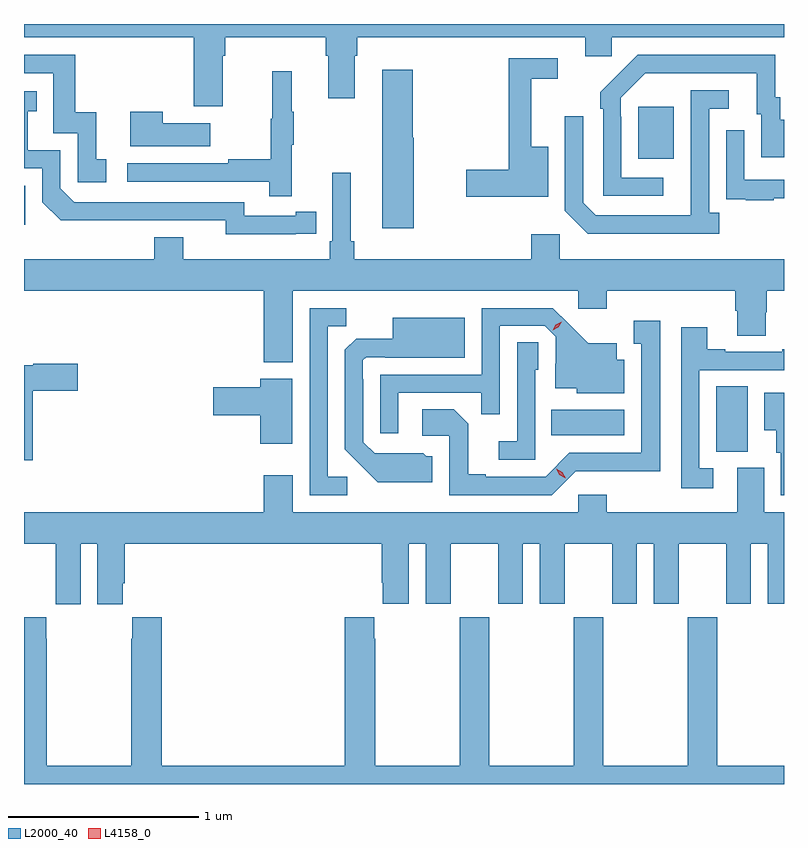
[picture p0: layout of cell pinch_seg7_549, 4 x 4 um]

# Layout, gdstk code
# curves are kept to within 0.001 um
import gdstk
lib = gdstk.Library(unit=1e-6, precision=1e-09)
def R(c, l, rs):  # rectangles x0, y0, x1, y1
    for r in rs: c.add(gdstk.rectangle(r[:2], r[2:], *l))
def P(c, l, *ps):  # polygons
    for p in ps: c.add(gdstk.Polygon(p, *l))
L2000_40 = (2000, 40)
L4158_0 = (4158, 0)

pinch_seg7_549 = lib.new_cell('pinch_seg7_549')
R(pinch_seg7_549, L2000_40, [(162.212,1057.045,162.376,1057.388), (161.344,1057.13,161.728,1057.264), (158.568,1058.238,158.574,1058.445), (161.801,1058.585,161.989,1058.86)])
P(pinch_seg7_549, L2000_40, [(159.613,1059.128),(159.626,1059.128),(159.626,1059.224),(160.157,1059.224),(160.157,1059.128),(160.169,1059.128),(160.169,1058.904),(160.309,1058.904),(160.309,1059.128),(160.322,1059.128),(160.322,1059.224),(161.522,1059.224),(161.522,1059.126),(161.661,1059.126),(161.661,1059.224),(162.568,1059.224),(162.568,1059.295),(158.568,1059.295),(158.568,1059.224),(159.461,1059.224),(159.461,1058.862),(159.613,1058.862)],
  [(161.932,1058.487),(161.712,1058.487),(161.712,1058.807),(161.709,1058.807),(161.709,1058.907),(161.838,1059.036),(162.425,1059.036),(162.425,1058.82),(162.449,1058.82),(162.449,1058.595),(162.568,1058.595),(162.568,1058.791),(162.547,1058.791),(162.547,1058.91),(162.522,1058.91),(162.522,1059.132),(161.798,1059.132),(161.601,1058.937),(161.601,1058.849),(161.616,1058.849),(161.616,1058.391),(161.932,1058.391)],
  [(159.001,1058.583),(158.948,1058.583),(158.948,1058.83),(158.837,1058.83),(158.837,1059.132),(158.568,1059.132),(158.568,1059.036),(158.721,1059.036),(158.721,1058.721),(158.85,1058.721),(158.85,1058.463),(159.001,1058.463)],
  [(161.326,1058.65),(161.237,1058.65),(161.237,1059.006),(161.377,1059.006),(161.377,1059.114),(161.119,1059.114),(161.119,1058.528),(160.896,1058.528),(160.896,1058.386),(161.326,1058.386)],
  [(160.618,1058.697),(160.613,1058.697),(160.613,1059.055),(160.454,1059.055),(160.454,1058.22),(160.618,1058.22)],
  [(159.977,1058.659),(159.988,1058.659),(159.988,1058.833),(159.977,1058.833),(159.977,1059.046),(159.874,1059.046),(159.874,1058.796),(159.867,1058.796),(159.867,1058.582),(159.643,1058.582),(159.643,1058.562),(159.111,1058.562),(159.111,1058.466),(159.859,1058.466),(159.859,1058.388),(159.977,1058.388)],
  [(162.226,1058.302),(162.174,1058.302),(162.174,1058.85),(162.277,1058.85),(162.277,1058.946),(162.078,1058.946),(162.077,1058.289),(161.577,1058.289),(161.511,1058.355),(161.511,1058.809),(161.415,1058.809),(161.415,1058.313),(161.536,1058.192),(162.226,1058.192)],
  [(159.998,1058.19),(160.106,1058.19),(160.106,1058.306),(159.998,1058.306),(159.998,1058.286),(159.726,1058.286),(159.726,1058.358),(158.832,1058.358),(158.76,1058.43),(158.76,1058.631),(158.587,1058.631),(158.587,1058.835),(158.636,1058.835),(158.636,1058.941),(158.568,1058.941),(158.568,1058.535),(158.664,1058.535),(158.664,1058.358),(158.762,1058.261),(159.63,1058.262),(159.63,1058.189)],
  [(159.547,1058.773),(159.299,1058.773),(159.299,1058.833),(159.128,1058.833),(159.128,1058.651),(159.547,1058.651)],
  [(162.515,1058.379),(162.568,1058.379),(162.568,1058.475),(162.36,1058.475),(162.36,1058.737),(162.264,1058.737),(162.264,1058.482),(162.265,1058.482),(162.265,1058.373),(162.367,1058.373),(162.367,1058.367),(162.515,1058.367)],
  [(159.982,1057.892),(161.484,1057.892),(161.484,1057.797),(161.636,1057.797),(161.636,1057.892),(162.311,1057.892),(162.311,1057.786),(162.323,1057.786),(162.323,1057.654),(162.471,1057.654),(162.471,1057.779),(162.476,1057.779),(162.476,1057.892),(162.568,1057.892),(162.568,1058.056),(161.388,1058.056),(161.388,1058.188),(161.237,1058.188),(161.237,1058.056),(160.307,1058.056),(160.307,1058.152),(160.288,1058.152),(160.288,1058.512),(160.191,1058.512),(160.191,1058.152),(160.178,1058.152),(160.178,1058.056),(159.406,1058.056),(159.406,1058.173),(159.254,1058.173),(159.254,1058.056),(158.568,1058.056),(158.568,1057.892),(159.83,1057.892),(159.83,1057.514),(159.982,1057.514)],
  [(160.539,1057.353),(160.975,1057.353),(160.975,1057.24),(161.073,1057.24),(161.073,1057.707),(161.31,1057.707),(161.367,1057.65),(161.367,1057.508),(161.363,1057.508),(161.363,1057.379),(161.478,1057.379),(161.478,1057.352),(161.728,1057.352),(161.728,1057.528),(161.689,1057.528),(161.689,1057.615),(161.537,1057.615),(161.35,1057.8),(160.977,1057.8),(160.977,1057.449),(160.443,1057.449),(160.443,1057.14),(160.539,1057.14)],
  [(160.27,1056.912),(160.167,1056.912),(160.167,1057.705),(160.263,1057.705),(160.263,1057.8),(160.071,1057.8),(160.071,1056.816),(160.27,1056.816)],
  [(160.717,1057.02),(160.686,1057.02),(160.67,1057.036),(160.413,1057.035),(160.353,1057.095),(160.353,1057.424),(160.35,1057.424),(160.35,1057.524),(160.368,1057.542),(160.468,1057.542),(160.468,1057.538),(160.888,1057.538),(160.888,1057.75),(160.508,1057.75),(160.508,1057.639),(160.316,1057.639),(160.257,1057.58),(160.257,1057.058),(160.429,1056.884),(160.717,1056.884)],
  [(161.472,1056.942),(161.917,1056.941),(161.917,1057.732),(161.777,1057.732),(161.777,1057.611),(161.816,1057.611),(161.816,1057.038),(161.439,1057.038),(161.313,1056.912),(160.999,1056.912),(160.999,1056.925),(160.905,1056.925),(160.905,1057.192),(160.829,1057.268),(160.665,1057.268),(160.665,1057.128),(160.806,1057.128),(160.806,1056.816),(161.346,1056.816)],
  [(162.196,1056.957),(162.123,1056.957),(162.123,1057.473),(162.568,1057.473),(162.568,1057.582),(162.559,1057.582),(162.559,1057.569),(162.259,1057.569),(162.259,1057.582),(162.163,1057.582),(162.163,1057.699),(162.027,1057.699),(162.027,1056.852),(162.196,1056.852)],
  [(161.259,1057.476),(161.274,1057.476),(161.274,1057.619),(161.163,1057.619),(161.163,1057.099),(161.067,1057.099),(161.067,1057.002),(161.259,1057.002)],
  [(158.615,1057.364),(158.851,1057.364),(158.851,1057.506),(158.617,1057.506),(158.617,1057.498),(158.568,1057.498),(158.568,1056.999),(158.615,1056.999)],
  [(159.979,1057.429),(159.812,1057.429),(159.812,1057.382),(159.564,1057.382),(159.564,1057.235),(159.812,1057.235),(159.812,1057.086),(159.979,1057.086)],
  [(162.568,1057.354),(162.464,1057.354),(162.464,1057.157),(162.527,1057.157),(162.527,1057.038),(162.552,1057.038),(162.552,1056.816),(162.568,1056.816)],
  [(158.866,1056.56),(158.954,1056.56),(158.954,1056.24),(159.088,1056.24),(159.088,1056.352),(159.098,1056.352),(159.098,1056.56),(160.451,1056.56),(160.451,1056.355),(160.457,1056.355),(160.457,1056.243),(160.594,1056.243),(160.594,1056.56),(160.682,1056.56),(160.682,1056.243),(160.813,1056.243),(160.813,1056.56),(161.063,1056.56),(161.063,1056.243),(161.194,1056.243),(161.194,1056.56),(161.282,1056.56),(161.282,1056.243),(161.413,1056.243),(161.413,1056.56),(161.663,1056.56),(161.663,1056.243),(161.794,1056.243),(161.794,1056.56),(161.882,1056.56),(161.882,1056.243),(162.013,1056.243),(162.013,1056.56),(162.263,1056.56),(162.263,1056.243),(162.394,1056.243),(162.394,1056.56),(162.482,1056.56),(162.482,1056.243),(162.568,1056.243),(162.568,1056.724),(162.463,1056.724),(162.463,1056.96),(162.323,1056.96),(162.323,1056.724),(161.636,1056.724),(161.636,1056.817),(161.484,1056.817),(161.484,1056.724),(159.982,1056.724),(159.982,1056.919),(159.83,1056.919),(159.83,1056.724),(158.568,1056.724),(158.568,1056.56),(158.735,1056.56),(158.735,1056.352),(158.736,1056.352),(158.736,1056.24),(158.866,1056.24)],
  [(159.139,1056.172),(159.139,1056.059),(159.133,1056.059),(159.133,1055.392),(158.688,1055.392),(158.688,1056.059),(158.685,1056.059),(158.685,1056.172),(158.568,1056.172),(158.568,1055.295),(162.568,1055.295),(162.568,1055.392),(162.216,1055.392),(162.216,1056.172),(162.061,1056.172),(162.061,1055.392),(161.616,1055.392),(161.616,1056.172),(161.461,1056.172),(161.461,1055.392),(161.016,1055.392),(161.016,1056.172),(160.861,1056.172),(160.861,1055.392),(160.416,1055.392),(160.416,1056.059),(160.411,1056.059),(160.411,1056.172),(160.256,1056.172),(160.256,1055.392),(159.293,1055.392),(159.293,1056.172)])
P(pinch_seg7_549, L4158_0, [(161.418,1056.903),(161.386,1056.922),(161.37,1056.955),(161.37,1056.955),(161.37,1056.955),(161.401,1056.936),(161.418,1056.903),(161.418,1056.903)],
  [(161.35,1057.684),(161.35,1057.684),(161.367,1057.713),(161.397,1057.729),(161.398,1057.729),(161.398,1057.728),(161.381,1057.699),(161.351,1057.684)])

lib.write_gds('pinch_seg7_549.gds')
